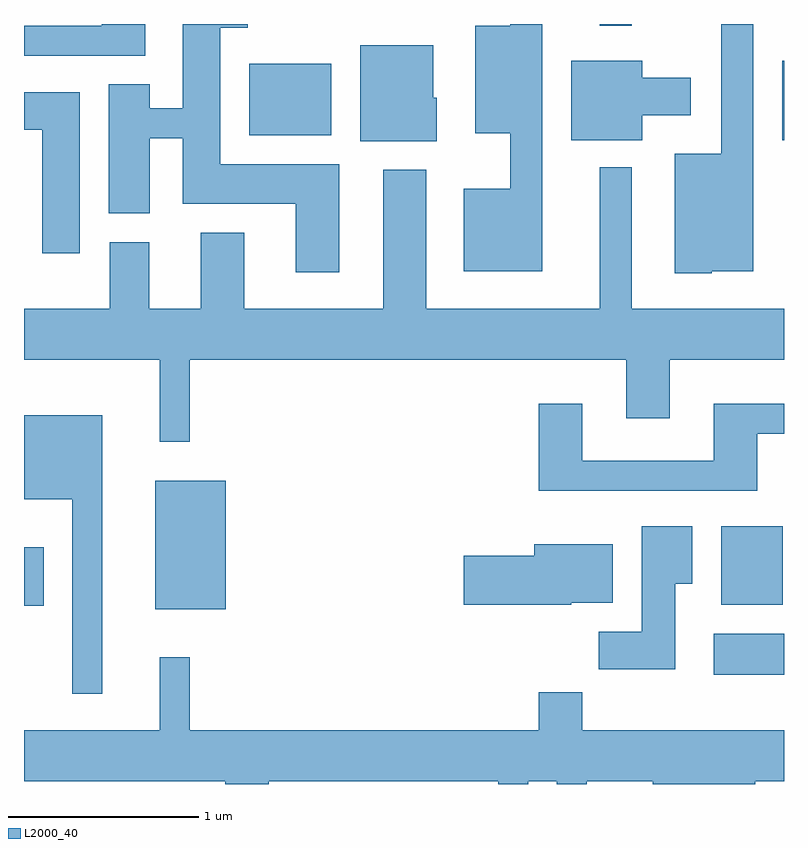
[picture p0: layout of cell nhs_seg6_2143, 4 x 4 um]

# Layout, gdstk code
import gdstk
lib = gdstk.Library(unit=1e-6, precision=1e-09)
def R(c, l, rs):  # rectangles x0, y0, x1, y1
    for r in rs: c.add(gdstk.rectangle(r[:2], r[2:], *l))
def P(c, l, *ps):  # polygons
    for p in ps: c.add(gdstk.Polygon(p, *l))
L2000_40 = (2000, 40)

nhs_seg6_2143 = lib.new_cell('nhs_seg6_2143')
R(nhs_seg6_2143, L2000_40, [(253.241,1632.736,253.611,1632.954), (250.301,1633.081,250.674,1633.759), (249.611,1633.101,249.714,1633.409), (253.281,1633.106,253.604,1633.519), (253.601,1635.551,253.611,1635.969), (250.796,1635.576,251.229,1635.954), (252.641,1636.153,252.809,1636.162)])
P(nhs_seg6_2143, L2000_40, [(250.249,1636.162),(250.021,1636.162),(250.021,1636.154),(249.611,1636.154),(249.611,1635.996),(250.249,1635.996)],
  [(252.339,1636.162),(252.171,1636.162),(252.171,1636.154),(251.986,1636.154),(251.986,1635.586),(252.171,1635.586),(252.171,1635.294),(251.926,1635.294),(251.926,1634.861),(252.339,1634.861)],
  [(253.23,1634.861),(253.449,1634.861),(253.449,1636.162),(253.281,1636.162),(253.281,1635.479),(253.036,1635.479),(253.036,1634.851),(253.23,1634.851)],
  [(251.269,1635.424),(250.644,1635.424),(250.644,1636.141),(250.789,1636.141),(250.789,1636.162),(250.446,1636.162),(250.446,1635.719),(250.274,1635.719),(250.274,1635.844),(250.056,1635.844),(250.056,1635.166),(250.274,1635.166),(250.274,1635.561),(250.446,1635.561),(250.446,1635.216),(251.041,1635.216),(251.041,1634.856),(251.269,1634.856)],
  [(251.784,1635.774),(251.764,1635.774),(251.764,1636.049),(251.381,1636.049),(251.381,1635.546),(251.784,1635.546)],
  [(252.864,1635.681),(253.119,1635.681),(253.119,1635.879),(252.864,1635.879),(252.864,1635.969),(252.491,1635.969),(252.491,1635.551),(252.864,1635.551)],
  [(249.904,1635.804),(249.611,1635.804),(249.611,1635.606),(249.706,1635.606),(249.706,1634.956),(249.904,1634.956)],
  [(250.484,1634.396),(252.781,1634.396),(252.781,1634.086),(253.009,1634.086),(253.009,1634.396),(253.611,1634.396),(253.611,1634.664),(252.809,1634.664),(252.809,1635.408),(252.641,1635.408),(252.641,1634.664),(251.729,1634.664),(251.729,1635.394),(251.501,1635.394),(251.501,1634.664),(250.769,1634.664),(250.769,1635.064),(250.541,1635.064),(250.541,1634.664),(250.269,1634.664),(250.269,1635.014),(250.061,1635.014),(250.061,1634.664),(249.611,1634.664),(249.611,1634.396),(250.326,1634.396),(250.326,1633.963),(250.484,1633.963)],
  [(253.469,1634.006),(253.611,1634.006),(253.611,1634.164),(253.241,1634.164),(253.241,1633.864),(252.549,1633.864),(252.549,1634.164),(252.321,1634.164),(252.321,1633.706),(253.469,1633.706)],
  [(250.024,1634.104),(249.611,1634.104),(249.611,1633.661),(249.866,1633.661),(249.866,1632.638),(250.024,1632.638)],
  [(253.039,1633.216),(253.129,1633.216),(253.129,1633.519),(252.861,1633.519),(252.861,1632.964),(252.636,1632.964),(252.636,1632.766),(253.039,1632.766)],
  [(252.49,1633.116),(252.709,1633.116),(252.709,1633.424),(252.296,1633.424),(252.296,1633.364),(251.926,1633.364),(251.926,1633.106),(252.49,1633.106)],
  [(250.899,1632.176),(252.106,1632.176),(252.106,1632.162),(252.264,1632.162),(252.264,1632.176),(252.416,1632.176),(252.416,1632.162),(252.574,1632.162),(252.574,1632.176),(252.921,1632.176),(252.921,1632.162),(253.459,1632.162),(253.459,1632.176),(253.611,1632.176),(253.611,1632.444),(252.549,1632.444),(252.549,1632.644),(252.321,1632.644),(252.321,1632.444),(250.484,1632.444),(250.484,1632.828),(250.326,1632.828),(250.326,1632.444),(249.611,1632.444),(249.611,1632.176),(250.671,1632.176),(250.671,1632.162),(250.899,1632.162)])

lib.write_gds('nhs_seg6_2143.gds')
